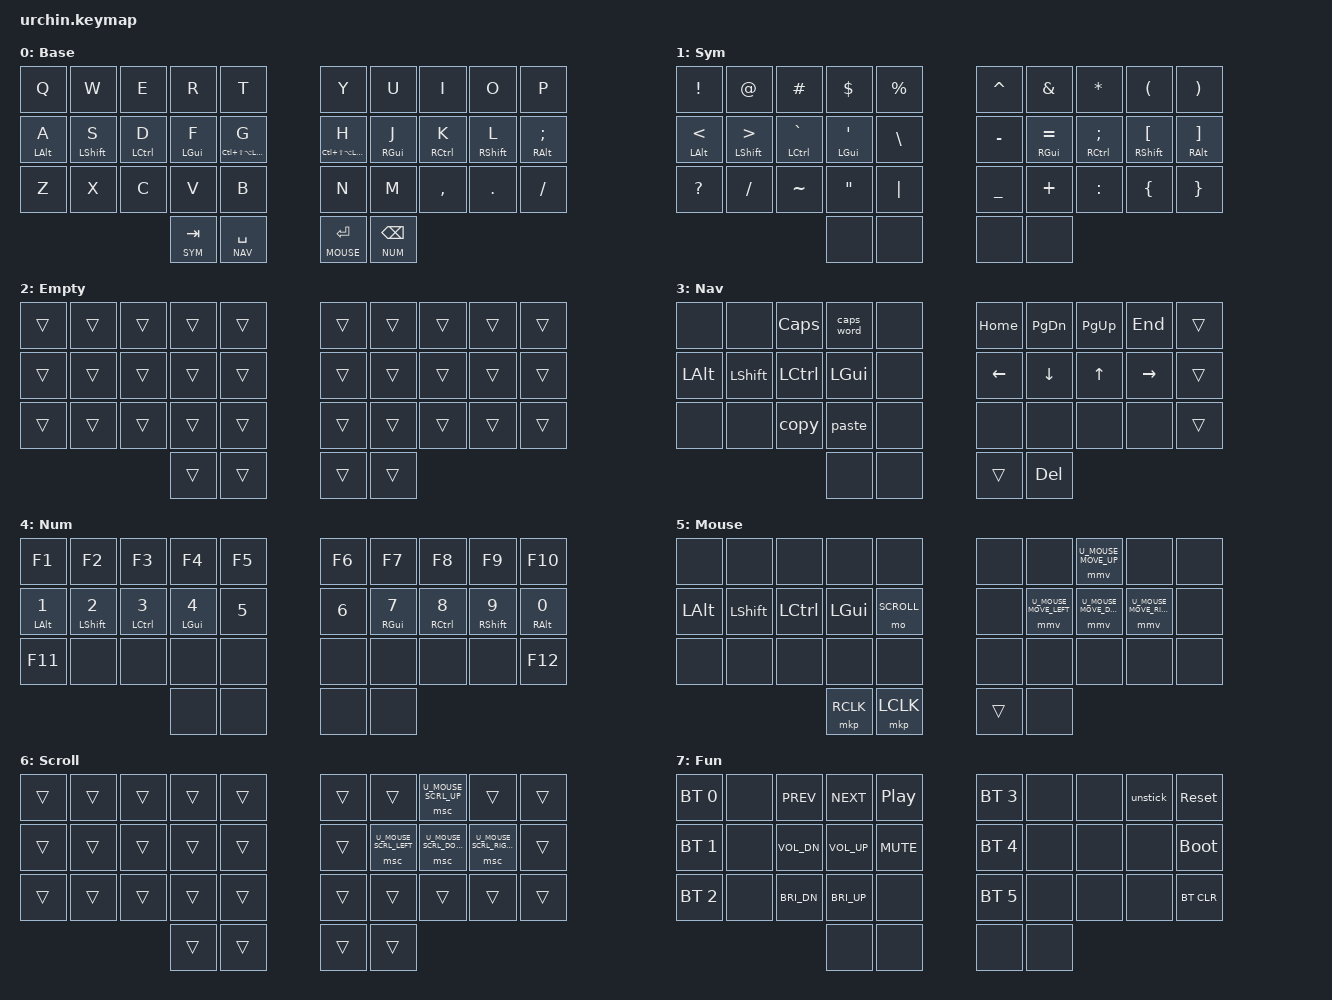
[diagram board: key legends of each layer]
/*
 * Copyright (c) 2020 duckyb
 *
 * SPDX-License-Identifier: MIT
 */

#include <behaviors.dtsi>
#include <dt-bindings/zmk/keys.h>
#include <dt-bindings/zmk/bt.h>
#include <dt-bindings/zmk/outputs.h>
#include <dt-bindings/zmk/mouse.h>

// Custom mouse speed 1500 (default 600, packed as: X in upper 16 bits, Y in lower 16)
#define U_MOUSE_MOVE_UP    0x0000FA24  /* MOVE_Y(-1500) */
#define U_MOUSE_MOVE_DOWN  0x000005DC  /* MOVE_Y(1500)  */
#define U_MOUSE_MOVE_LEFT  0xFA240000  /* MOVE_X(-1500) */
#define U_MOUSE_MOVE_RIGHT 0x05DC0000  /* MOVE_X(1500)  */

// Custom scroll speed 22 (default 1, same packing)
#define U_MOUSE_SCRL_UP    0x00000016  /* SCRL_Y(22)   */
#define U_MOUSE_SCRL_DOWN  0x0000FFEA  /* SCRL_Y(-22)  */
#define U_MOUSE_SCRL_LEFT  0xFFEA0000  /* SCRL_X(-22)  */
#define U_MOUSE_SCRL_RIGHT 0x00160000  /* SCRL_X(22)   */

// Layer definitions
#define BASE   0
#define SYM    1
#define EMP    2 // Click on key with index 2 on layer with index 2 disconnects keyboard
#define NAV    3
#define NUM    4
#define MOUSE  5
#define SCROLL 6
#define FUN    7
// -----------------

&sk {
	// don't release mods on other mods presses
	ignore-modifiers;
};

&mmv {
	acceleration-exponent = <1>;
	time-to-max-speed-ms = <300>;
	delay-ms = <0>;
};

&msc {
	acceleration-exponent = <1>;
	time-to-max-speed-ms = <150>;
	delay-ms = <0>;
};

/ {
	behaviors {
		// Home row mods - left hand
		hml: homerow_mods_left {
			compatible = "zmk,behavior-hold-tap";
			label = "HOMEROW_MODS_LEFT";
			#binding-cells = <2>;
			flavor = "balanced";
			tapping-term-ms = <220>;
			quick-tap-ms = <150>;
			require-prior-idle-ms = <200>;
			bindings = <&kp>, <&kp>;
			hold-trigger-key-positions = <5 6 7 8 9 15 16 17 18 19 25 26 27 28 29 30 31 32 33>;
			hold-trigger-on-release;
		};

		// Home row shift - left hand (balanced: hold triggers on key press+release while held)
		hml_shift: homerow_shift_left {
			compatible = "zmk,behavior-hold-tap";
			label = "HOMEROW_SHIFT_LEFT";
			#binding-cells = <2>;
			flavor = "balanced";
			tapping-term-ms = <220>;
			quick-tap-ms = <150>;
			require-prior-idle-ms = <125>;
			bindings = <&kp>, <&kp>;
			hold-trigger-key-positions = <5 6 7 8 9 15 16 17 18 19 25 26 27 28 29 30 31 32 33>;
			hold-trigger-on-release;
		};

		// Home row mods - right hand
		hmr: homerow_mods_right {
			compatible = "zmk,behavior-hold-tap";
			#binding-cells = <2>;
			flavor = "balanced";
			tapping-term-ms = <220>;
			quick-tap-ms = <150>;
			require-prior-idle-ms = <200>;
			bindings = <&kp>, <&kp>;
			hold-trigger-key-positions = <0 1 2 3 4 10 11 12 13 14 20 21 22 23 24 30 31 32 33>;
			hold-trigger-on-release;
		};

		// Home row shift - right hand (balanced: hold triggers on key press+release while held)
		hmr_shift: homerow_shift_right {
			compatible = "zmk,behavior-hold-tap";
			label = "HOMEROW_SHIFT_RIGHT";
			#binding-cells = <2>;
			flavor = "balanced";
			tapping-term-ms = <220>;
			quick-tap-ms = <150>;
			require-prior-idle-ms = <125>;
			bindings = <&kp>, <&kp>;
			hold-trigger-key-positions = <0 1 2 3 4 10 11 12 13 14 20 21 22 23 24 30 31 32 33>;
			hold-trigger-on-release;
		};

		// Hyper key behavior
		hyp: hyper_mods {
			compatible = "zmk,behavior-hold-tap";
			label = "HYPER_MODS";
			#binding-cells = <2>;
			flavor = "balanced";
			tapping-term-ms = <220>;
			quick-tap-ms = <150>;
			require-prior-idle-ms = <200>;
			bindings = <&kp>, <&kp>;
			hold-trigger-key-positions = <0 1 2 3 4 5 6 7 8 9 10 11 12 13 15 16 17 18 19 20 21 22 23 24 25 26 27 28 29 30 31 32 33>;
			hold-trigger-on-release;
		};

		// Layer-tap with quick-tap for key repeat
		lt_repeat: layer_tap_repeat {
			compatible = "zmk,behavior-hold-tap";
			label = "LAYER_TAP_REPEAT";
			#binding-cells = <2>;
			flavor = "balanced";
			tapping-term-ms = <200>;
			quick-tap-ms = <200>;
			bindings = <&mo>, <&kp>;
		};
	};

	macros {
		// sometimes my device thinks a modifier is being held down
		// pressing all modifiers fixes it.
		unstick: unstick {
			label = "ZM_unstick";
			compatible = "zmk,behavior-macro";
			#binding-cells = <0>;
			bindings = <&kp LSHIFT &kp RSHIFT &kp LCTRL &kp RCTRL &kp LALT &kp RALT &kp LGUI &kp RGUI>;
		};

		// Cmd+V macro for paste
		paste: paste {
			label = "ZM_paste";
			compatible = "zmk,behavior-macro";
			#binding-cells = <0>;
			bindings = <&macro_press &kp LGUI>, <&macro_tap &kp V>, <&macro_release &kp LGUI>;
		};

		// Cmd+C macro for copy
		copy: copy {
			label = "ZM_copy";
			compatible = "zmk,behavior-macro";
			#binding-cells = <0>;
			bindings = <&macro_press &kp LGUI>, <&macro_tap &kp C>, <&macro_release &kp LGUI>;
		};
	};

	combos {
		compatible = "zmk,combos";
		// K+L -> ESC (matching QMK combo)
		combo_esc {
			timeout-ms = <50>;
			key-positions = <17 18>;
			bindings = <&kp ESC>;
			layers = <BASE>;
		};
		// S+D -> ESC
		combo_esc_sd {
			timeout-ms = <50>;
			key-positions = <11 12>;
			bindings = <&kp ESC>;
			layers = <BASE MOUSE>;
		};
	};

	keymap {
		compatible = "zmk,keymap";
		
		// Base layer with home row mods
		base_layer {
			label = "Base";
			bindings = <
			//┌─────────────────────┬──────────────┬──────────────┬──────────────┬──────────────┐   ┌──────────────┬──────────────┬──────────────┬──────────────┬─────────────────────┐
			   &kp Q                 &kp W          &kp E          &kp R          &kp T              &kp Y          &kp U          &kp I          &kp O          &kp P
			//├─────────────────────┼──────────────┼──────────────┼──────────────┼──────────────┤   ├──────────────┼──────────────┼──────────────┼──────────────┼─────────────────────┤
			   &hml LALT A             &hml_shift LSHIFT S   &hml LCTRL D    &hml LGUI F    &hyp LC(LS(LA(LGUI))) G    &hyp LC(LS(LA(LGUI))) H    &hmr RGUI J    &hmr RCTRL K    &hmr_shift RSHIFT L   &hmr RALT SEMI
			//├─────────────────────┼──────────────┼──────────────┼──────────────┼──────────────┤   ├──────────────┼──────────────┼──────────────┼──────────────┼─────────────────────┤
		     &kp Z                  &kp X          &kp C          &kp V          &kp B              &kp N          &kp M          &kp COMMA      &kp DOT        &kp FSLH
		  //└─────────────────────┴──────────────┴──────────────┼──────────────┼──────────────┤   ├──────────────┼──────────────┼──────────────┴──────────────┴─────────────────────┘
		                                                         &lt_repeat SYM TAB    &lt_repeat NAV SPACE      &lt_repeat MOUSE RET    &lt_repeat NUM BSPC
			//                                                    └──────────────┴──────────────┘   └──────────────┴──────────────┘
			>;
		};

		// Symbol layer
		sym_layer {
			label = "Sym";
			bindings = <
			//┌────────────────┬──────────────────┬────────────────┬────────────────┬──────────────┐   ┌──────────────┬────────────────┬──────────────────┬──────────────────┬──────────────────┐
			   &kp EXCL         &kp AT             &kp HASH         &kp DLLR         &kp PRCNT          &kp CARET      &kp AMPS         &kp ASTRK          &kp LPAR           &kp RPAR
			//├────────────────┼──────────────────┼────────────────┼────────────────┼──────────────┤   ├──────────────┼────────────────┼──────────────────┼──────────────────┼──────────────────┤
			   &hml LALT LT             &hml_shift LSHIFT GT      &hml LCTRL GRAVE  &hml LGUI SQT    &kp BSLH           &kp MINUS      &hmr RGUI EQUAL          &hmr RCTRL SEMI     &hmr_shift RSHIFT LBKT    &hmr RALT RBKT
			//├────────────────┼──────────────────┼────────────────┼────────────────┼──────────────┤   ├──────────────┼────────────────┼──────────────────┼──────────────────┼──────────────────┤
 			   &kp QMARK        &kp FSLH           &kp TILDE        &kp DQT          &kp PIPE           &kp UNDER      &kp PLUS         &kp COLON          &kp LBRC           &kp RBRC
			//└────────────────┴──────────────────┴────────────────┼────────────────┼──────────────┤   ├──────────────┼────────────────┼──────────────────┴──────────────────┴──────────────────┘
			                                                         &none           &none              &none          &none
			//                                                     └────────────────┴──────────────┘   └──────────────┴────────────────┘
			>;
		};

		// Empty layer - Workaround for layer index 2 bug
		empty_layer {
			label = "Empty";
			bindings = <
			//┌──────────────┬──────────────┬──────────────┬──────────────┬──────────────┐   ┌──────────────┬──────────────┬──────────────┬──────────────┬──────────────┐
			   &trans         &trans         &trans         &trans         &trans             &trans         &trans         &trans         &trans         &trans
			//├──────────────┼──────────────┼──────────────┼──────────────┼──────────────┤   ├──────────────┼──────────────┼──────────────┼──────────────┼──────────────┤
			   &trans         &trans         &trans         &trans         &trans             &trans         &trans         &trans         &trans         &trans
			//├──────────────┼──────────────┼──────────────┼──────────────┼──────────────┤   ├──────────────┼──────────────┼──────────────┼──────────────┼──────────────┤
			   &trans         &trans         &trans         &trans         &trans             &trans         &trans         &trans         &trans         &trans
			//└──────────────┴──────────────┴──────────────┼──────────────┼──────────────┤   ├──────────────┼──────────────┼──────────────┴──────────────┴──────────────┘
			                                                 &trans         &trans             &trans         &trans
			//                                             └──────────────┴──────────────┘   └──────────────┴──────────────┘
			>;
		};

		// Navigation layer
		nav_layer {
			label = "Nav";
			bindings = <
			//┌──────────────┬──────────────┬──────────────┬──────────────┬──────────────┐   ┌──────────────┬──────────────┬──────────────┬──────────────┬──────────────┐
			   &none           &none          &kp CAPS       &caps_word     &none              &kp HOME       &kp PG_DN      &kp PG_UP      &kp END        &trans
			//├──────────────┼──────────────┼──────────────┼──────────────┼──────────────┤   ├──────────────┼──────────────┼──────────────┼──────────────┼──────────────┤
			   &kp LALT       &kp LSHIFT      &kp LCTRL     &kp LGUI       &none              &kp LEFT       &kp DOWN       &kp UP         &kp RIGHT      &trans
			//├──────────────┼──────────────┼──────────────┼──────────────┼──────────────┤   ├──────────────┼──────────────┼──────────────┼──────────────┼──────────────┤
			   &none          &none          &copy          &paste    &none              &none          &none          &none          &none          &trans
			//└──────────────┴──────────────┴──────────────┼──────────────┼──────────────┤   ├──────────────┼──────────────┼──────────────┴──────────────┴──────────────┘
			                                                &none          &none              &trans         &kp DEL
			//                                             └──────────────┴──────────────┘   └──────────────┴──────────────┘
			>;
		};

		// Number layer
		num_layer {
			label = "Num";
			bindings = <
			//┌──────────────┬──────────────┬──────────────┬──────────────┬──────────────┐   ┌──────────────┬──────────────┬──────────────┬──────────────┬──────────────┐
			   &kp F1         &kp F2         &kp F3         &kp F4         &kp F5             &kp F6         &kp F7         &kp F8         &kp F9         &kp F10
			//├──────────────┼──────────────┼──────────────┼──────────────┼──────────────┤   ├──────────────┼──────────────┼──────────────┼──────────────┼──────────────┤
			   &hml LALT N1          &hml_shift LSHIFT N2  &hml LCTRL N3   &hml LGUI N4   &kp N5             &kp N6         &hmr RGUI N7           &hmr RCTRL N8   &hmr_shift RSHIFT N9  &hmr RALT N0
			//├──────────────┼──────────────┼──────────────┼──────────────┼──────────────┤   ├──────────────┼──────────────┼──────────────┼──────────────┼──────────────┤
			   &kp F11        &none          &none          &none          &none              &none          &none          &none          &none          &kp F12
			//└──────────────┴──────────────┴──────────────┼──────────────┼──────────────┤   ├──────────────┼──────────────┼──────────────┴──────────────┴──────────────┘
			                                                &none          &none              &none          &none
			//                                             └──────────────┴──────────────┘   └──────────────┴──────────────┘
			>;
		};

		// Mouse layer - hold Enter to activate
		mouse_layer {
			label = "Mouse";
			bindings = <
			//┌──────────────┬──────────────┬──────────────┬──────────────┬──────────────┐   ┌──────────────┬──────────────┬──────────────────┬──────────────┬──────────────┐
			   &none          &none          &none          &none          &none              &none          &none          &mmv U_MOUSE_MOVE_UP    &none          &none
			//├──────────────┼──────────────┼──────────────┼──────────────┼──────────────┤   ├──────────────┼──────────────────┼──────────────────┼──────────────────┼──────────────┤
			   &kp LALT       &kp LSHIFT      &kp LCTRL     &kp LGUI       &mo SCROLL         &none          &mmv U_MOUSE_MOVE_LEFT  &mmv U_MOUSE_MOVE_DOWN  &mmv U_MOUSE_MOVE_RIGHT  &none
			//├──────────────┼──────────────┼──────────────┼──────────────┼──────────────┤   ├──────────────┼──────────────┼──────────────┼──────────────┼──────────────┤
			   &none          &none          &none          &none          &none              &none          &none          &none          &none          &none
			//└──────────────┴──────────────┴──────────────┼──────────────┼──────────────┤   ├──────────────┼──────────────┼──────────────┴──────────────┴──────────────┘
			                                                &mkp RCLK      &mkp LCLK          &trans         &none
			//                                             └──────────────┴──────────────┘   └──────────────┴──────────────┘
			>;
		};

		// Scroll layer - hold G on Mouse layer to activate
		scroll_layer {
			label = "Scroll";
			bindings = <
			//┌──────────────┬──────────────┬──────────────┬──────────────┬──────────────┐   ┌──────────────┬──────────────┬──────────────────┬──────────────┬──────────────┐
			   &trans         &trans         &trans         &trans         &trans             &trans         &trans         &msc U_MOUSE_SCRL_UP    &trans         &trans
			//├──────────────┼──────────────┼──────────────┼──────────────┼──────────────┤   ├──────────────┼──────────────────┼──────────────────┼──────────────────┼──────────────┤
			   &trans         &trans         &trans         &trans         &trans             &trans         &msc U_MOUSE_SCRL_LEFT  &msc U_MOUSE_SCRL_DOWN  &msc U_MOUSE_SCRL_RIGHT  &trans
			//├──────────────┼──────────────┼──────────────┼──────────────┼──────────────┤   ├──────────────┼──────────────┼──────────────┼──────────────┼──────────────┤
			   &trans         &trans         &trans         &trans         &trans             &trans         &trans         &trans         &trans         &trans
			//└──────────────┴──────────────┴──────────────┼──────────────┼──────────────┤   ├──────────────┼──────────────┼──────────────┴──────────────┴──────────────┘
			                                                &trans         &trans             &trans         &trans
			//                                             └──────────────┴──────────────┘   └──────────────┴──────────────┘
			>;
		};

		// Function layer
		fun_layer {
			label = "Fun";
			bindings = <
			//┌──────────────┬──────────────┬──────────────┬──────────────┬──────────────┐   ┌──────────────┬──────────────┬──────────────┬──────────────┬──────────────┐
			   &bt BT_SEL 0   &none          &kp C_PREV     &kp C_NEXT     &kp C_PP           &bt BT_SEL 3   &none          &none          &unstick       &sys_reset
			//├──────────────┼──────────────┼──────────────┼──────────────┼──────────────┤   ├──────────────┼──────────────┼──────────────┼──────────────┼──────────────┤
			   &bt BT_SEL 1   &none          &kp C_VOL_DN   &kp C_VOL_UP   &kp C_MUTE         &bt BT_SEL 4   &none          &none          &none          &bootloader
			//├──────────────┼──────────────┼──────────────┼──────────────┼──────────────┤   ├──────────────┼──────────────┼──────────────┼──────────────┼──────────────┤
			   &bt BT_SEL 2   &none          &kp C_BRI_DN   &kp C_BRI_UP   &none              &bt BT_SEL 5   &none          &none          &none          &bt BT_CLR
			//└──────────────┴──────────────┴──────────────┼──────────────┼──────────────┤   ├──────────────┼──────────────┼──────────────┴──────────────┴──────────────┘
			                                                &none          &none              &none          &none
			//                                             └──────────────┴──────────────┘   └──────────────┴──────────────┘
			>;
		};
	};

	conditional_layers {
		compatible = "zmk,conditional-layers";
		fun_layer_trigger {
			if-layers = <NAV MOUSE>;
			then-layer = <FUN>;
		};
	};
};
